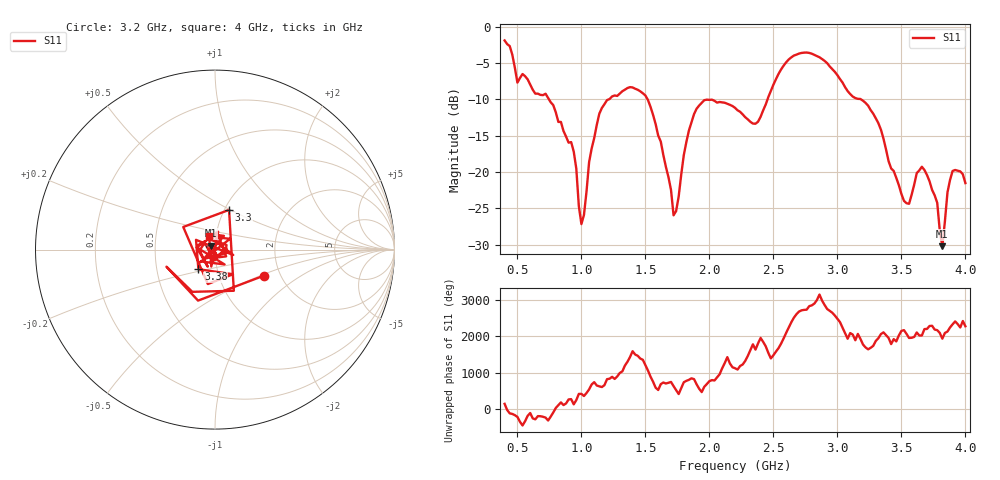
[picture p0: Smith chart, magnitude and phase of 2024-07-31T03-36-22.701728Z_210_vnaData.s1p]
!Created with skrf (http://scikit-rf.org).
# Hz S RI R 50.0
!freq ReS11 ImS11
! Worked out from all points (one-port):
!   181 points, 400 MHz to 4 GHz, reference 50 ohm
!   lowest |S11| = -30.2 dB at 3.82 GHz (marker M1), VSWR 1.06, Z = 47.9 + j2.19 ohm
!   |S11| at or under -10 dB: 746.8 MHz to 1.212 GHz (465.6 MHz wide, 47.5 % of centre); 1.517 GHz to 2.454 GHz (936.5 MHz wide, 47.2 % of centre); 3.185 GHz to end of sweep
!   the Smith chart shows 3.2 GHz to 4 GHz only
!   S11 on the Smith chart (normalised r, x): 3.2 GHz: 1.65, -0.53; 3.3 GHz: 1.05, +0.49; 3.38 GHz: 0.81, -0.18; 4 GHz: 0.93, +0.14
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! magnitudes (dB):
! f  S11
! 400 MHz  -1.9
! 500 MHz  -7.7
! 720 MHz  -9.2
! 860 MHz  -14.3
! 940 MHz  -17.2
! 1 GHz  -27.1
! 1.14 GHz  -12.0
! 1.3 GHz  -9.2
! 1.5 GHz  -9.5
! 1.62 GHz  -15.8
! 1.72 GHz  -25.9
! 1.76 GHz  -23.3
! 1.82 GHz  -15.9
! 1.9 GHz  -11.3
! 2.2 GHz  -11.2
! 2.38 GHz  -13.1
! 2.66 GHz  -4.0
! 3.1 GHz  -9.3
! 3.2 GHz  -10.2
! 3.3 GHz  -12.6
! 3.38 GHz  -16.9
! 3.56 GHz  -24.4
! 3.68 GHz  -19.7
! 3.78 GHz  -24.2
! 3.82 GHz  -30.2
! 3.86 GHz  -22.8
! 3.9 GHz  -19.8
! 4 GHz  -21.5
